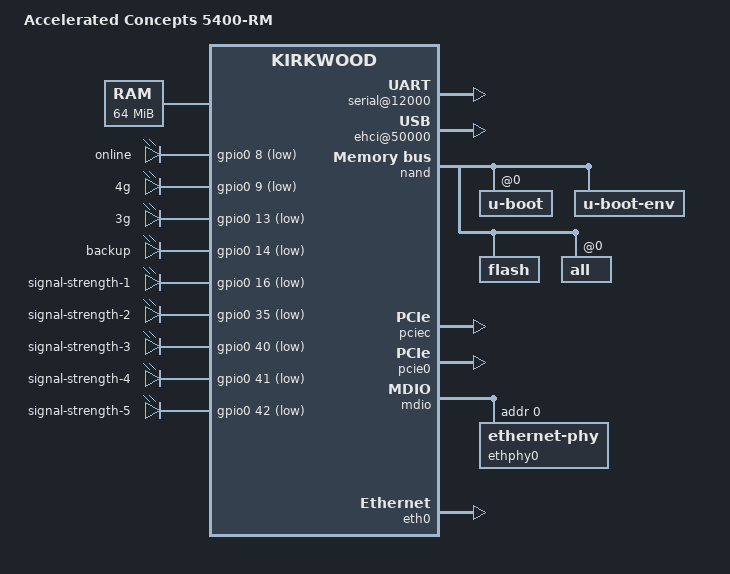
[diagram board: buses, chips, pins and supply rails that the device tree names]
/*
 * Device Tree file for AcceleratedConcepts 5400-RM
 *
 * David McCullough <david.mccullough@accelerated.com>
 * Greg Ungerer <greg.ungerer@accelerated.com>
 *
 * This file is licensed under the terms of the GNU General Public
 * License version 2.  This program is licensed "as is" without any
 * warranty of any kind, whether express or implied.
 */

/dts-v1/;

#include "kirkwood.dtsi"
#include "kirkwood-6180.dtsi"

/ {
	model = "Accelerated Concepts 5400-RM";
	compatible = "accelerated,5400-rm", "marvell,kirkwood-88f6180", "marvell,kirkwood";

	memory {
		device_type = "memory";
		reg = <0x00000000 0x4000000>;
	};

	chosen {
		bootargs = "console=ttyS0,115200n8 earlyprintk";
		stdout-path = &uart0;
	};

	ocp@f1000000 {
		 pinctrl: pin-controller@10000 {
			pmx_led_0: pmx-led-0 {
				marvell,pins = "mpp8";
				marvell,function = "gpio";
			};

			pmx_led_1: pmx-led-1 {
				marvell,pins = "mpp9";
				marvell,function = "gpio";
			};

			pmx_led_2: pmx-led-2 {
				marvell,pins = "mpp13";
				marvell,function = "gpio";
			};

			pmx_led_3: pmx-led-3 {
				marvell,pins = "mpp14";
				marvell,function = "gpio";
			};

			pmx_led_4: pmx-led-4 {
				marvell,pins = "mpp16";
				marvell,function = "gpio";
			};

			pmx_led_5: pmx-led-5 {
				marvell,pins = "mpp35";
				marvell,function = "gpio";
			};

			pmx_led_6: pmx-led-6 {
				marvell,pins = "mpp40";
				marvell,function = "gpio";
			};

			pmx_led_7: pmx-led-7 {
				marvell,pins = "mpp41";
				marvell,function = "gpio";
			};

			pmx_led_8: pmx-led-8 {
				marvell,pins = "mpp42";
				marvell,function = "gpio";
			};

			pmx_watchdog: pmx-watchdog {
				marvell,pins = "mpp36";
				marvell,function = "gpio";
			};

			pmx_cell_disable: pmx-cell-disable {
				marvell,pins = "mpp37";
				marvell,function = "gpio";
			};

			pmx_cell_reset: pmx-cell-reset {
				marvell,pins = "mpp38";
				marvell,function = "gpio";
			};

			pmx_erase: pmx-erase {
				marvell,pins = "mpp39";
				marvell,function = "gpio";
			};

			pmx_sim_detect: pmx-sim-detect {
				marvell,pins = "mpp43";
				marvell,function = "gpio";
			};

			pmx_buzzer: pmx-buzzer {
				marvell,pins = "mpp44";
				marvell,function = "gpio";
			};

			pmx_usb_power: pmx-usb-power {
				marvell,pins = "mpp15";
				marvell,function = "gpio";
			};

			pmx_usb_ovc: pmx-usb-ovc {
				marvell,pins = "mpp17";
				marvell,function = "gpio";
			};
		};

		serial@12000 {
			status = "ok";
		};

		ehci@50000 {
			status = "ok";
		};

		crypto@30000 {
			status = "ok";
		};
	};

	leds {
		compatible = "gpio-leds";
		pinctrl-0 = <
				&pmx_uart0
				&pmx_nand
				&pmx_led_0
				&pmx_led_1
				&pmx_led_2
				&pmx_led_3
				&pmx_led_4
				&pmx_led_5
				&pmx_led_6
				&pmx_led_7
				&pmx_led_8
				&pmx_watchdog
				&pmx_cell_disable
				&pmx_cell_reset
				&pmx_erase
				&pmx_sim_detect
				&pmx_buzzer
				&pmx_usb_power
				&pmx_usb_ovc
			>;
		pinctrl-names = "default";

		online {
			label = "online";
			gpios = <&gpio0 8 1>;
			default-state = "off";
		};
		4g {
			label = "4g";
			gpios = <&gpio0 9 1>;
			default-state = "off";
		};
		3g {
			label = "3g";
			gpios = <&gpio0 13 1>;
			default-state = "off";
		};
		backup {
			label = "backup";
			gpios = <&gpio0 14 1>;
			default-state = "off";
		};
		signal_strength_1 {
			label = "signal-strength-1";
			gpios = <&gpio0 16 1>;
			default-state = "off";
		};
		signal_strength_2 {
			label = "signal-strength-2";
			gpios = <&gpio0 35 1>;
			default-state = "off";
		};
		signal_strength_3 {
			label = "signal-strength-3";
			gpios = <&gpio0 40 1>;
			default-state = "off";
		};
		signal_strength_4 {
			label = "signal-strength-4";
			gpios = <&gpio0 41 1>;
			default-state = "off";
		};
		signal_strength_5 {
			label = "signal-strength-5";
			gpios = <&gpio0 42 1>;
			default-state = "off";
		};
	};
};

&nand {
	status = "okay";

	u-boot@0 {
		label = "u-boot";
		reg = <0x0 0x200000>;
	};

	u-boot-env@200000 {
		label = "u-boot-env";
		reg = <0x200000 0x100000>;
	};

	flash@400000 {
		label = "flash";
		reg = <0x300000 0x0>;
	};

	all@0 {
		label = "all";
		reg = <0x0 0x0>;
	};
};

&pciec {
	status = "okay";
};

&pcie0 {
	status = "okay";
};

&mdio {
	status = "okay";
	ethphy0: ethernet-phy@0 {
		reg = <0>;
	};
};

&eth0 {
	status = "okay";
	ethernet0-port@0 {
		phy-handle = <&ethphy0>;
        };
};

